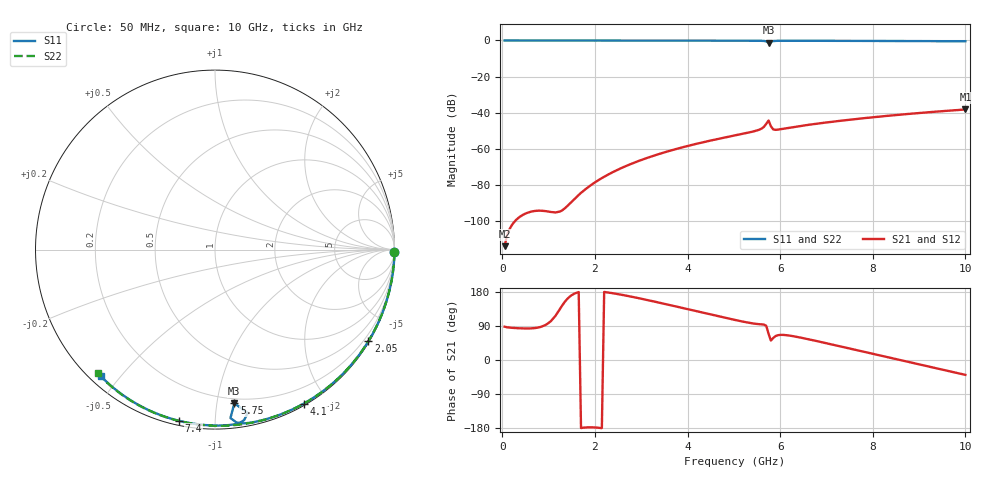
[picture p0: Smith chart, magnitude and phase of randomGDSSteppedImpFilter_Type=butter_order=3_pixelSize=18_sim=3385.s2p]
! freq	dB(S11)	phase(S11)	dB(S12)	phase(S12)
!  dB(S21)	phase(S21)	dB(S22)	phase(S22)
!S-par simulation data
#  GHz  S  DB  R 50
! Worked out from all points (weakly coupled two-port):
!   200 points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, 50 MHz to 10 GHz, reference 50 ohm
!   highest |S21| = -38.29 dB at 10 GHz (marker M1); lowest = -114.1 dB at 50 MHz (marker M2)
!   lowest |S11| = -1.3 dB at 5.75 GHz (marker M3), VSWR 13.62, Z = 8.33 - j56 ohm
!   |S11| at or under -10 dB: nowhere
!   |S22| runs from -0.4 to 0.0 dB; largest |S21 - S12| = 0
!   S11 on the Smith chart (normalised r, x): 50 MHz: open; 2.05 GHz: 0.03, -3.62; 4.1 GHz: 0.02, -1.73; 5.75 GHz: 0.17, -1.12; 7.4 GHz: 0.02, -0.81; 10 GHz: 0.03, -0.44
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0.05  -0.00 -0.8  -114.15 87.9  -114.15 87.9  -0.00 -0.8
0.9  -0.02 -13.7  -94.61 90.6  -94.61 90.6  -0.02 -13.8
1.75  -0.03 -26.4  -83.50 -178.5  -83.50 -178.5  -0.03 -26.6
1.9  -0.04 -28.6  -80.54 -177.6  -80.54 -177.6  -0.04 -28.8
1.95  -0.04 -29.4  -79.63 -177.7  -79.63 -177.7  -0.04 -29.6
2.05  -0.04 -30.8  -77.93 -178.5  -77.93 -178.5  -0.04 -31.0
2.35  -0.05 -35.2  -73.54 176.9  -73.54 176.9  -0.05 -35.5
2.65  -0.05 -39.6  -69.91 170.4  -69.91 170.4  -0.05 -39.8
3.4  -0.07 -50.3  -62.88 151.0  -62.88 151.0  -0.07 -50.6
4.1  -0.08 -60.1  -57.92 131.4  -57.92 131.4  -0.08 -60.4
5.05  -0.11 -73.1  -52.57 105.0  -52.57 105.0  -0.11 -73.2
5.55  -0.17 -80.6  -49.48 94.4  -49.48 94.4  -0.13 -79.8
5.65  -0.27 -83.0  -47.95 93.5  -47.95 93.5  -0.13 -81.1
5.7  -0.51 -84.8  -46.26 90.2  -46.26 90.2  -0.14 -81.7
5.75  -1.28 -82.8  -44.42 69.0  -44.42 69.0  -0.14 -82.4
5.8  -0.65 -78.6  -47.61 51.3  -47.61 51.3  -0.14 -83.0
5.85  -0.32 -80.3  -49.37 58.0  -49.37 58.0  -0.14 -83.6
5.9  -0.23 -81.7  -49.61 63.1  -49.61 63.1  -0.14 -84.3
6.7  -0.18 -93.3  -46.50 52.4  -46.50 52.4  -0.18 -94.4
7.4  -0.22 -101.9  -44.28 33.1  -44.28 33.1  -0.22 -102.9
8.35  -0.29 -113.2  -41.75 6.5  -41.75 6.5  -0.29 -114.3
10  -0.45 -132.2  -38.29 -39.2  -38.29 -39.2  -0.45 -133.5
